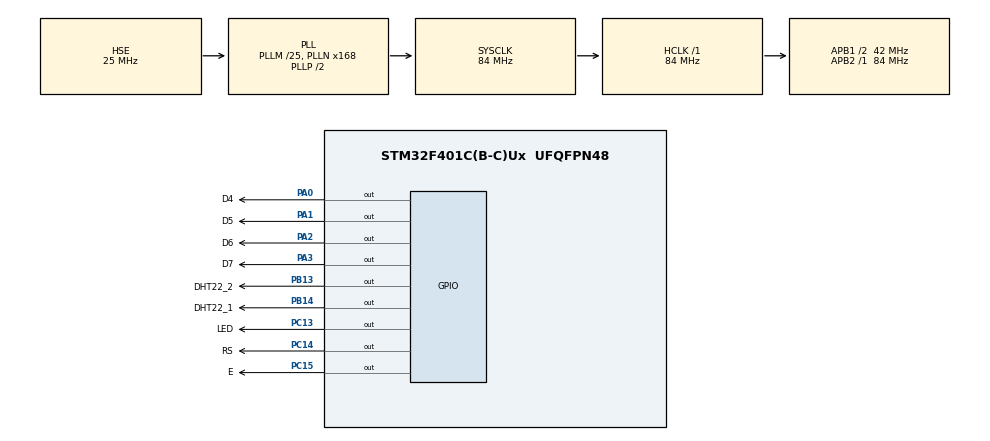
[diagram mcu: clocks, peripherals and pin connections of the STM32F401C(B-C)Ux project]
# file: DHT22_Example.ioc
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Mcu.Family=STM32F4
Mcu.Name=STM32F401C(B-C)Ux
Mcu.Package=UFQFPN48
NVIC.PriorityGroup=NVIC_PRIORITYGROUP_4
PA0-WKUP.GPIO_Label=D4
PA0-WKUP.Signal=GPIO_Output
PA1.GPIO_Label=D5
PA1.Signal=GPIO_Output
PA13.Mode=Serial_Wire
PA13.Signal=SYS_JTMS-SWDIO
PA14.Mode=Serial_Wire
PA14.Signal=SYS_JTCK-SWCLK
PA2.GPIO_Label=D6
PA2.Signal=GPIO_Output
PA3.GPIO_Label=D7
PA3.Signal=GPIO_Output
PB13.GPIO_Label=DHT22_2
PB13.Signal=GPIO_Output
PB14.GPIO_Label=DHT22_1
PB14.Signal=GPIO_Output
PC13-ANTI_TAMP.GPIO_Label=LED
PC13-ANTI_TAMP.Signal=GPIO_Output
PC14-OSC32_IN.GPIO_Label=RS
PC14-OSC32_IN.Signal=GPIO_Output
PC15-OSC32_OUT.GPIO_Label=E
PC15-OSC32_OUT.Signal=GPIO_Output
PH0\ -\ OSC_IN.Mode=HSE-External-Oscillator
PH0\ -\ OSC_IN.Signal=RCC_OSC_IN
PH1\ -\ OSC_OUT.Mode=HSE-External-Oscillator
PH1\ -\ OSC_OUT.Signal=RCC_OSC_OUT
ProjectManager.HeapSize=0x200
ProjectManager.StackSize=0x400
ProjectManager.TargetToolchain=STM32CubeIDE
RCC.48MHZClocksFreq_Value=42000000
RCC.AHBFreq_Value=84000000
RCC.APB1CLKDivider=RCC_HCLK_DIV2
RCC.APB1Freq_Value=42000000
RCC.APB1TimFreq_Value=84000000
RCC.APB2Freq_Value=84000000
RCC.APB2TimFreq_Value=84000000
RCC.CortexFreq_Value=84000000
RCC.HCLKFreq_Value=84000000
RCC.HSE_VALUE=25000000
RCC.HSI_VALUE=16000000
RCC.LSE_VALUE=32768
RCC.PLLM=25
RCC.PLLN=168
RCC.PLLSourceVirtual=RCC_PLLSOURCE_HSE
RCC.SYSCLKFreq_VALUE=84000000
RCC.SYSCLKSource=RCC_SYSCLKSOURCE_PLLCLK
RCC.VCOOutputFreq_Value=168000000
TIM11.Prescaler=83
VP_TIM11_VS_ClockSourceINT.Mode=Enable_Timer
board=custom

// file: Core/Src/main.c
/* USER CODE BEGIN Header */
/**
  ******************************************************************************
  * @file           : main.c
  * @brief          : Main program body
  ******************************************************************************
  * @attention
  *
  * Copyright (c) 2024 STMicroelectronics.
  * All rights reserved.
  *
  * This software is licensed under terms that can be found in the LICENSE file
  * in the root directory of this software component.
  * If no LICENSE file comes with this software, it is provided AS-IS.
  *
  ******************************************************************************
  */
/* USER CODE END Header */
#include "main.h"
#include "tim.h"
#include "gpio.h"

/* USER CODE BEGIN Includes */
#include "dht22.h"
#include "hd44780.h"
#include "stdio.h"
/* USER CODE END Includes */

/* USER CODE BEGIN PV */

/* ----- Define your sensors ----  */
DHT22_t Sensor_1;
DHT22_t Sensor_2;

/* LCD Buffer */
char BufferLCD [16];

/* USER CODE END PV */

void SystemClock_Config(void);

int main(void)
{

  /* MCU Configuration--------------------------------------------------------*/

  /* Reset of all peripherals, Initializes the Flash interface and the Systick. */
  HAL_Init();

  /* Configure the system clock */
  SystemClock_Config();

  /* Initialize all configured peripherals */
  MX_GPIO_Init();
  MX_TIM11_Init();
  /* USER CODE BEGIN 2 */

  /* ----- Start timer for DHT22 delays ----  */
  HAL_TIM_Base_Start(&htim11);

  /* LCD Init */
  LCD_Init();

  /* ----- Init your sensors (assign pins) ----  */
  DHT22_Init(&Sensor_1, DHT22_1_GPIO_Port, DHT22_1_Pin);
  DHT22_Init(&Sensor_2, DHT22_2_GPIO_Port, DHT22_2_Pin);

  /* USER CODE END 2 */

  /* Infinite loop */
  /* USER CODE BEGIN WHILE */
  while (1)
  {
	  /* --- Read DHT22's data in loop --- */
	  if(DHT22_ReadData(&Sensor_1) != DHT22_OK)
	  {
		  // You can handle ERROR here
	  }
	  if(DHT22_ReadData(&Sensor_2) != DHT22_OK)
	  {
		  // You can handle ERROR here
	  }

	  LCD_Clear();
	  /* --- Print temperature values on LCD */
	  sprintf(BufferLCD, "T1=%0.2f T2=%0.2f", DHT22_GetTemperature(&Sensor_1), DHT22_GetTemperature(&Sensor_2));
	  LCD_Locate(0, 0);
	  LCD_WriteStr(BufferLCD);

	  /* --- Print humidity values on LCD */
	  sprintf(BufferLCD, "H1=%0.2f H2=%0.2f", DHT22_GetHumidity(&Sensor_1), DHT22_GetHumidity(&Sensor_2));
	  LCD_Locate(0, 1);
	  LCD_WriteStr(BufferLCD);

	  /* Recommended collecting period by DHT22 datasheet is 2s */
	  HAL_Delay(2000);

    /* USER CODE END WHILE */

  }
}

void SystemClock_Config(void)
{
  RCC_OscInitTypeDef RCC_OscInitStruct = {0};
  RCC_ClkInitTypeDef RCC_ClkInitStruct = {0};

  /** Configure the main internal regulator output voltage
  */
  __HAL_RCC_PWR_CLK_ENABLE();
  __HAL_PWR_VOLTAGESCALING_CONFIG(PWR_REGULATOR_VOLTAGE_SCALE2);

  /** Initializes the RCC Oscillators according to the specified parameters
  * in the RCC_OscInitTypeDef structure.
  */
  RCC_OscInitStruct.OscillatorType = RCC_OSCILLATORTYPE_HSE;
  RCC_OscInitStruct.HSEState = RCC_HSE_ON;
  RCC_OscInitStruct.PLL.PLLState = RCC_PLL_ON;
  RCC_OscInitStruct.PLL.PLLSource = RCC_PLLSOURCE_HSE;
  RCC_OscInitStruct.PLL.PLLM = 25;
  RCC_OscInitStruct.PLL.PLLN = 168;
  RCC_OscInitStruct.PLL.PLLP = RCC_PLLP_DIV2;
  RCC_OscInitStruct.PLL.PLLQ = 4;
  if (HAL_RCC_OscConfig(&RCC_OscInitStruct) != HAL_OK)
  {
    Error_Handler();
  }

  /** Initializes the CPU, AHB and APB buses clocks
  */
  RCC_ClkInitStruct.ClockType = RCC_CLOCKTYPE_HCLK|RCC_CLOCKTYPE_SYSCLK
                              |RCC_CLOCKTYPE_PCLK1|RCC_CLOCKTYPE_PCLK2;
  RCC_ClkInitStruct.SYSCLKSource = RCC_SYSCLKSOURCE_PLLCLK;
  RCC_ClkInitStruct.AHBCLKDivider = RCC_SYSCLK_DIV1;
  RCC_ClkInitStruct.APB1CLKDivider = RCC_HCLK_DIV2;
  RCC_ClkInitStruct.APB2CLKDivider = RCC_HCLK_DIV1;

  if (HAL_RCC_ClockConfig(&RCC_ClkInitStruct, FLASH_LATENCY_2) != HAL_OK)
  {
    Error_Handler();
  }
}

void Error_Handler(void)
{
  __disable_irq();
  while (1)
  {
  }
}
